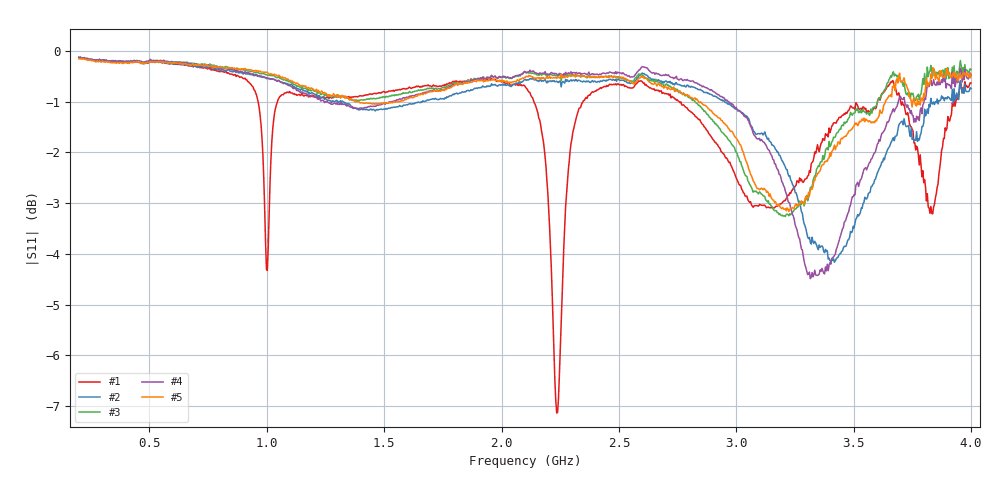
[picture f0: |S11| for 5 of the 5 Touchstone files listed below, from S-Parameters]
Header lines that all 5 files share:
# MHz S MA R 50
!  freq  S11
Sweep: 200 MHz to 4 GHz
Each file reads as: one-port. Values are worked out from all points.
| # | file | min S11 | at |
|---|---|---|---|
| 1 | jlcM.s1p | -7.1 dB | 2.235 GHz |
| 2 | SatCPWG.s1p | -4.2 dB | 3.418 GHz |
| 3 | SatM.s1p | -3.3 dB | 3.209 GHz |
| 4 | SonCPWG.s1p | -4.5 dB | 3.315 GHz |
| 5 | SonM.s1p | -3.2 dB | 3.224 GHz |
